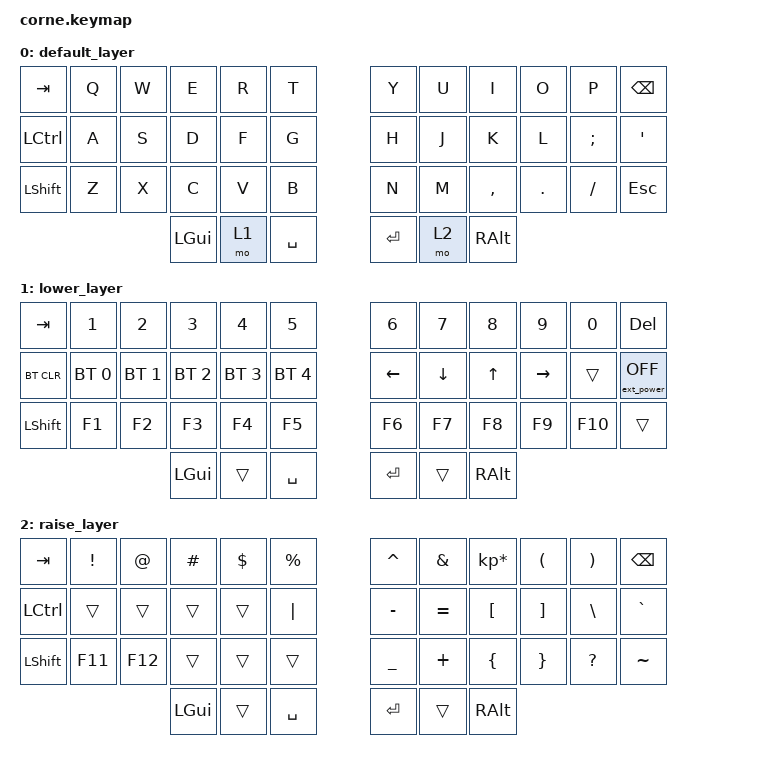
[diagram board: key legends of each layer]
/*
 * Copyright (c) 2020 The ZMK Contributors
 *
 * SPDX-License-Identifier: MIT
 */

#include <behaviors.dtsi>
#include <dt-bindings/zmk/keys.h>
#include <dt-bindings/zmk/bt.h>
#include <dt-bindings/zmk/ext_power.h>

/ {
        keymap {
                compatible = "zmk,keymap";

                default_layer {
// -----------------------------------------------------------------------------------------
// |  TAB |  Q  |  W  |  E  |  R  |  T  |   |  Y  |  U   |  I  |  O  |  P  | BKSP |
// | CTRL |  A  |  S  |  D  |  F  |  G  |   |  H  |  J   |  K  |  L  |  ;  |  '   |
// | SHFT |  Z  |  X  |  C  |  V  |  B  |   |  N  |  M   |  ,  |  .  |  /  | ESC  |
//                    | GUI | LWR | SPC |   | ENT | RSE  | ALT |
                        bindings = <
   &kp TAB   &kp Q &kp W &kp E &kp R &kp T   &kp Y &kp U  &kp I     &kp O   &kp P    &kp BSPC
   &kp LCTRL &kp A &kp S &kp D &kp F &kp G   &kp H &kp J  &kp K     &kp L   &kp SEMI &kp SQT
   &kp LSHFT &kp Z &kp X &kp C &kp V &kp B   &kp N &kp M  &kp COMMA &kp DOT &kp FSLH &kp ESC
                  &kp LGUI &mo 1 &kp SPACE   &kp RET &mo 2 &kp RALT
                        >;
                };
                lower_layer {
// -----------------------------------------------------------------------------------------
// |  TAB |  1  |  2  |  3  |  4  |  5  |   |  6  |  7  |  8  |  9  |  0  | DEL  |
// | BTCLR| BT1 | BT2 | BT3 | BT4 | BT5 |   | LFT | DWN |  UP | RGT |     |VCCoff| EP_TOG if toggleis needed
// | SHFT | F1  | F2  | F3  | F4  | F5  |   | F6  | F7  |  F8 | F9  | F10 |      |
//                    | GUI |     | SPC |   | ENT |     | ALT |
                        bindings = <
   &kp TAB    &kp N1       &kp N2       &kp N3       &kp N4       &kp N5         &kp N6   &kp N7   &kp N8 &kp N9    &kp N0  &kp DEL
   &bt BT_CLR &bt BT_SEL 0 &bt BT_SEL 1 &bt BT_SEL 2 &bt BT_SEL 3 &bt BT_SEL 4   &kp LEFT &kp DOWN &kp UP &kp RIGHT &trans  &ext_power EP_OFF
   &kp LSHFT  &kp F1       &kp F2       &kp F3       &kp F4      &kp F5          &kp F6   &kp F7   &kp F8 &kp F9    &kp F10 &trans
                                    &kp LGUI     &trans       &kp SPACE      &kp RET  &trans   &kp RALT
                        >;
                };

                raise_layer {
// -----------------------------------------------------------------------------------------
// |  TAB |  !  |  @  |  #  |  $  |  %  |   |  ^  |  &  |  *  |  (  |  )  | BKSP |
// | CTRL |     |     |     |     | "|" |   |  -  |  =  |  [  |  ]  |  \  |  `   |
// | SHFT | F11 | F12 |     |     |     |   |  _  |  +  |  {  |  }  |  ?  |  ~   |
//                    | GUI |     | SPC |   | ENT |     | ALT |
                        bindings = <
   &kp  TAB  &kp EXCL &kp AT  &kp HASH &kp DLLR &kp PRCNT   &kp CARET &kp AMPS  &kp KP_MULTIPLY &kp LPAR &kp RPAR  &kp BSPC
   &kp LCTRL &trans   &trans  &trans   &trans   &kp PIPE    &kp MINUS &kp EQUAL &kp LBKT        &kp RBKT &kp BSLH  &kp GRAVE
   &kp LSHFT &kp F11  &kp F12 &trans   &trans   &trans      &kp UNDER &kp PLUS  &kp LBRC        &kp RBRC &kp QMARK &kp TILDE
                             &kp LGUI &trans   &kp SPACE   &kp RET   &trans    &kp RALT
                        >;
                };
        };
};
